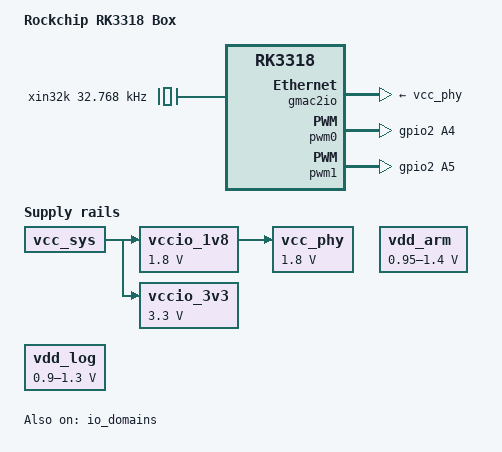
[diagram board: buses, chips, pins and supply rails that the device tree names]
// SPDX-License-Identifier: (GPL-2.0+ OR MIT)

/dts-v1/;
#include "rk33x8-box.dtsi"

/ {
	model = "Rockchip RK3318 Box";

	vccio_1v8: vccio-1v8-regulator {
		compatible = "regulator-fixed";
		regulator-name = "vccio_1v8";
		regulator-min-microvolt = <1800000>;
		regulator-max-microvolt = <1800000>;
		vin-supply = <&vcc_sys>;
		regulator-always-on;
	};

	vccio_3v3: vccio-3v3-regulator {
		compatible = "regulator-fixed";
		regulator-name = "vccio_3v3";
		regulator-min-microvolt = <3300000>;
		regulator-max-microvolt = <3300000>;
		vin-supply = <&vcc_sys>;
		regulator-always-on;
	};

	vcc_phy: vcc-phy-regulator {
		compatible = "regulator-fixed";
		regulator-name = "vcc_phy";
		regulator-min-microvolt = <1800000>;
		regulator-max-microvolt = <1800000>;
		regulator-always-on;
		regulator-boot-on;
		vin-supply = <&vccio_1v8>;
	};

	vdd_arm: vdd-arm {
		compatible = "pwm-regulator";
		pwms = <&pwm0 0 2000 0>;
		pwm-dutycycle-range = <90 0>;
		regulator-name = "vdd_arm";
		regulator-min-microvolt = <950000>;
		regulator-max-microvolt = <1400000>;
		regulator-ramp-delay = <12500>;
		regulator-always-on;
		regulator-boot-on;
	};

	vdd_log: vdd-log {
		compatible = "pwm-regulator";
		pwms = <&pwm1 0 5000 0>;
		pwm-dutycycle-range = <100 0>;
		regulator-name = "vdd_log";
		regulator-min-microvolt = <900000>;
		regulator-max-microvolt = <1300000>;
		regulator-ramp-delay = <12500>;
		regulator-always-on;
		regulator-boot-on;
	};

	xin32k {
		compatible = "fixed-clock";
		clock-frequency = <32768>;
		clock-output-names = "xin32k";
		#clock-cells = <0>;
	};
};

&cpu0 {
	cpu-supply = <&vdd_arm>;
};

&cpu1 {
	cpu-supply = <&vdd_arm>;
};

&cpu2 {
	cpu-supply = <&vdd_arm>;
};

&cpu3 {
	cpu-supply = <&vdd_arm>;
};

&cpu0_opp_table {

	opp-1104000000 {
		opp-hz = /bits/ 64 <1104000000>;
		opp-microvolt = <1275000>;
		clock-latency-ns = <40000>;
	};

	opp-1200000000 {
		status = "disabled";
	};

	opp-1296000000 {
		status = "disabled";
	};
};

&gpu {
	mali-supply = <&vdd_log>;
};

&gmac2io {
	phy-supply = <&vcc_phy>;
};

&gmac2phy {
	phy-supply = <&vcc_phy>;
};

&io_domains {
	pmuio-supply = <&vccio_3v3>;
	vccio1-supply = <&vccio_3v3>;
	vccio2-supply = <&vccio_1v8>;
	vccio3-supply = <&vccio_3v3>;
	vccio4-supply = <&vccio_1v8>;
	vccio5-supply = <&vccio_3v3>;
	vccio6-supply = <&vccio_3v3>;
	status = "okay";
};

&pinctrl {

	pinctrl-names = "default";
	pinctrl-0 = <&clk_32k_out>;

	pwm0 {
		pwm0_pin_pull_up: pwm0-pin-pull-up {
			rockchip,pins = <2 RK_PA4 1 &pcfg_pull_up>;
		};
	};

	pwm1 {
		pwm1_pin_pull_up: pwm1-pin-pull-up {
			rockchip,pins = <2 RK_PA5 1 &pcfg_pull_up>;
		};
	};

	clk_32k {
		clk_32k_out: clk-32k-out {
			rockchip,pins = <1 RK_PD4 1 &pcfg_pull_none>;
		};
	};
};

&pwm0 {
	pinctrl-0 = <&pwm0_pin_pull_up>;
	status = "okay";
};

&pwm1 {
	pinctrl-0 = <&pwm1_pin_pull_up>;
	status = "okay";
};

&vcc_sd {
	vin-supply = <&vccio_3v3>;
};
